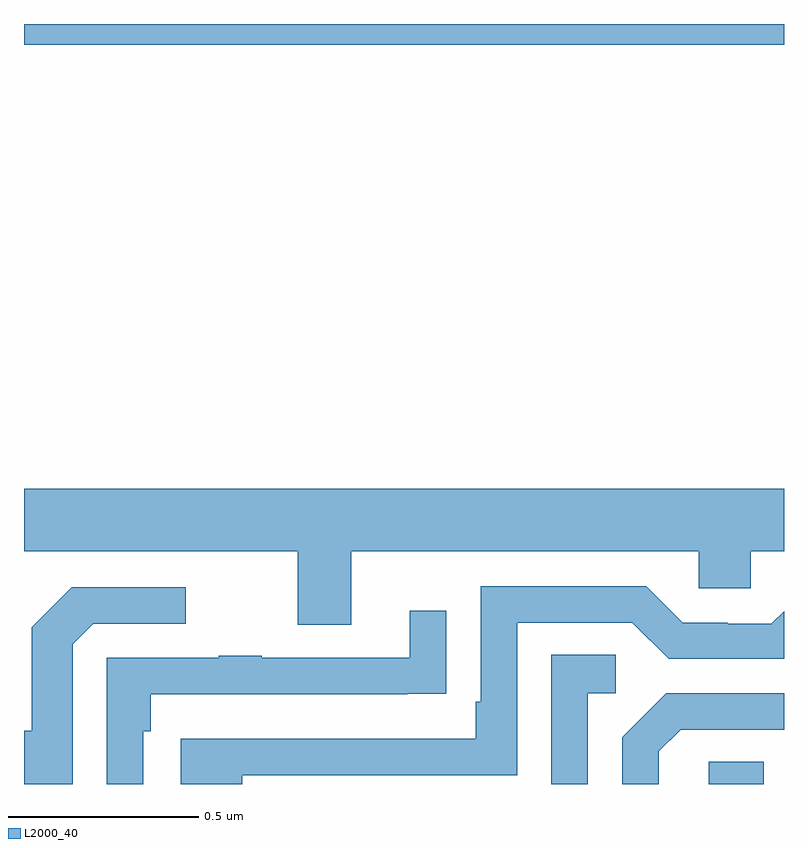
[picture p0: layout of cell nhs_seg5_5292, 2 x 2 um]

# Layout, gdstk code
import gdstk
lib = gdstk.Library(unit=1e-6, precision=1e-09)
def R(c, l, rs):  # rectangles x0, y0, x1, y1
    for r in rs: c.add(gdstk.rectangle(r[:2], r[2:], *l))
def P(c, l, *ps):  # polygons
    for p in ps: c.add(gdstk.Polygon(p, *l))
L2000_40 = (2000, 40)

nhs_seg5_5292 = lib.new_cell('nhs_seg5_5292')
R(nhs_seg5_5292, L2000_40, [(182.802,870.799,182.947,870.857), (181,872.744,183,872.799)])
P(nhs_seg5_5292, L2000_40, [(181.861,871.412),(182.775,871.412),(182.775,871.314),(182.913,871.314),(182.913,871.412),(183,871.412),(183,871.576),(181,871.576),(181,871.412),(181.721,871.412),(181.721,871.218),(181.861,871.218)],
  [(181.574,870.822),(182.298,870.822),(182.298,871.224),(182.601,871.224),(182.697,871.128),(183,871.128),(183,871.254),(182.967,871.221),(182.852,871.221),(182.852,871.224),(182.733,871.224),(182.637,871.32),(182.202,871.32),(182.202,871.015),(182.189,871.015),(182.189,870.918),(181.413,870.918),(181.413,870.799),(181.574,870.799)],
  [(181.128,871.167),(181.182,871.221),(181.426,871.221),(181.426,871.317),(181.125,871.317),(181.02,871.211),(181.02,870.939),(181,870.939),(181,870.799),(181.128,870.799)],
  [(181.314,870.938),(181.334,870.938),(181.334,871.035),(182.009,871.035),(182.009,871.036),(182.111,871.036),(182.111,871.255),(182.015,871.255),(182.015,871.131),(181.625,871.131),(181.625,871.136),(181.513,871.136),(181.513,871.131),(181.218,871.131),(181.218,870.799),(181.314,870.799)],
  [(182.484,871.038),(182.557,871.038),(182.557,871.139),(182.388,871.139),(182.388,870.799),(182.484,870.799)],
  [(182.671,870.885),(182.728,870.942),(183,870.942),(183,871.038),(182.69,871.038),(182.574,870.922),(182.574,870.799),(182.671,870.799)])

lib.write_gds('nhs_seg5_5292.gds')
